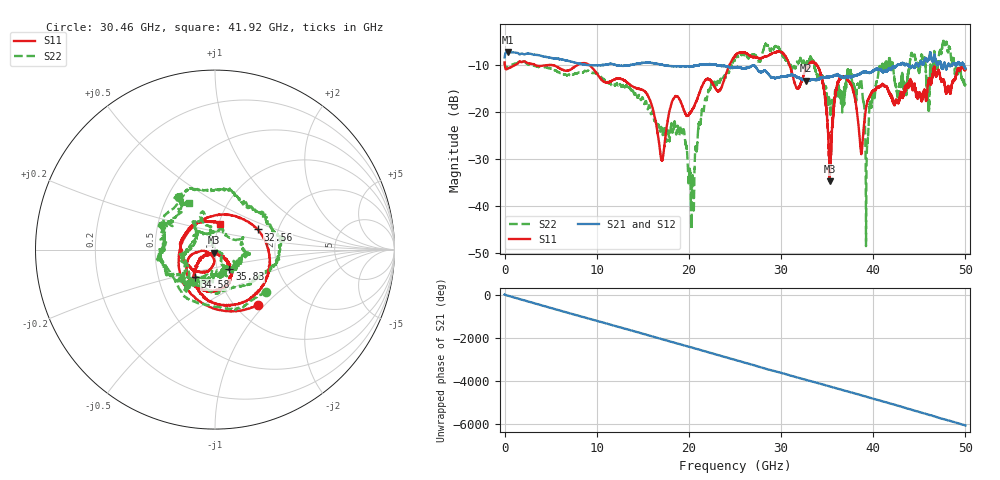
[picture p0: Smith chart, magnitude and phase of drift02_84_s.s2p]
!Created with skrf (http://scikit-rf.org).
# Hz S RI R 50.0
!freq ReS11 ImS11 ReS21 ImS21 ReS12 ImS12 ReS22 ImS22
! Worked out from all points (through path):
!   10001 points, 300 kHz to 50 GHz, reference 50 ohm
!   highest |S21| = -7.32 dB at 335.3 MHz (marker M1); lowest = -13.4 dB at 32.73 GHz (marker M2)
!   group delay of S21, straight-line fit = 335 ps
!   lowest |S11| = -34.7 dB at 35.26 GHz (marker M3), VSWR 1.04, Z = 49.3 - j1.69 ohm
!   |S11| at or under -10 dB: 3.225 GHz to 8.007 GHz (4.782 GHz wide, 85.1 % of centre); 9.107 GHz to 24.42 GHz (15.31 GHz wide, 91.3 % of centre); 33.85 GHz to 49.63 GHz (15.78 GHz wide, 37.8 % of centre) (the widest 3 of 10)
!   |S22| runs from -48.5 to -4.9 dB; largest |S21 - S12| = 0.014
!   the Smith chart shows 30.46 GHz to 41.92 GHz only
!   S11 on the Smith chart (normalised r, x): 30.46 GHz: 1.27, -0.91; 32.56 GHz: 1.57, +0.38; 34.58 GHz: 0.77, -0.24; 35.83 GHz: 1.14, -0.25; 41.92 GHz: 1.01, +0.29
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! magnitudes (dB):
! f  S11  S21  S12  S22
! 300 kHz  -9.5  -8.5  -8.4  -9.4
! 335.3 MHz  -10.9  -7.3  -7.3  -10.5
! 8.335 GHz  -9.7  -9.9  -9.9  -11.6
! 16.67 GHz  -25.4  -9.9  -9.9  -22.8
! 19.3 GHz  -18.9  -10.4  -10.3  -24.4
! 20.37 GHz  -19.5  -10.3  -10.3  -34.2
! 21.94 GHz  -13.1  -9.9  -10.0  -17.1
! 25 GHz  -8.2  -10.6  -10.6  -9.1
! 30.46 GHz  -8.2  -12.5  -12.4  -8.7
! 32.56 GHz  -11.6  -13.3  -13.3  -9.9
! 32.73 GHz  -10.9  -13.4  -13.5  -10.0
! 33.34 GHz  -9.5  -13.1  -13.2  -9.0
! 34.58 GHz  -14.5  -12.8  -12.7  -13.2
! 35.26 GHz  -34.7  -12.6  -12.6  -18.2
! 35.83 GHz  -17.4  -12.2  -12.3  -16.0
! 37.37 GHz  -13.5  -12.5  -12.6  -11.9
! 38.56 GHz  -26.1  -12.0  -11.9  -13.9
! 39.32 GHz  -18.2  -11.6  -11.6  -28.0
! 41.67 GHz  -15.7  -10.9  -11.1  -9.5
! 41.92 GHz  -16.8  -10.9  -10.9  -10.6
! 47.77 GHz  -14.5  -9.8  -9.7  -5.7
! 50 GHz  -11.1  -10.8  -10.8  -14.0
